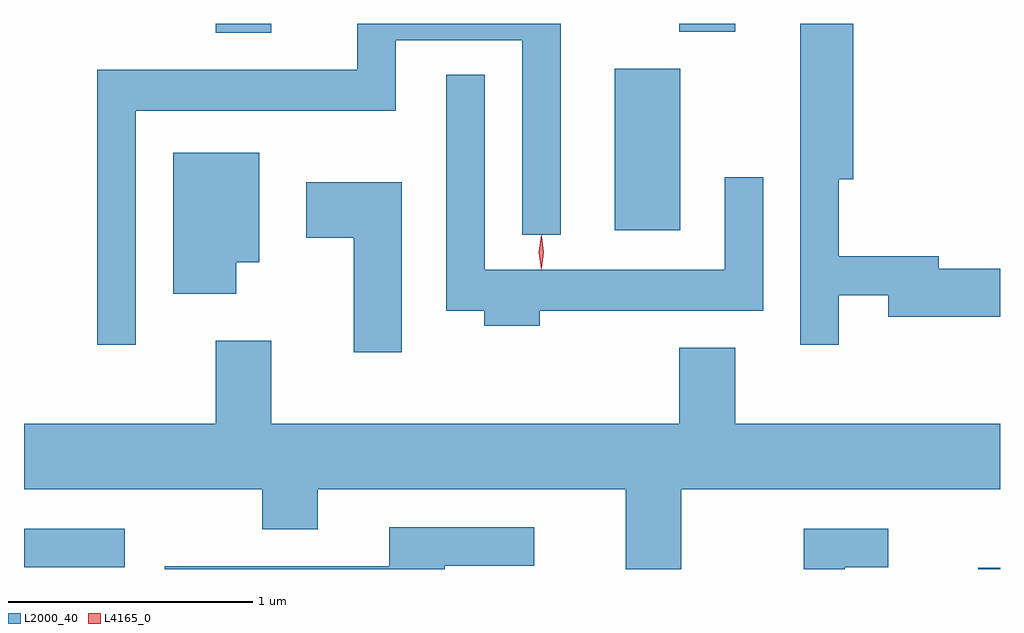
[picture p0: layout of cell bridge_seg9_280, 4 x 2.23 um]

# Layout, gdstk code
import gdstk
lib = gdstk.Library(unit=1e-6, precision=1e-09)
def R(c, l, rs):  # rectangles x0, y0, x1, y1
    for r in rs: c.add(gdstk.rectangle(r[:2], r[2:], *l))
def P(c, l, *ps):  # polygons
    for p in ps: c.add(gdstk.Polygon(p, *l))
L2000_40 = (2000, 40)
L4165_0 = (4165, 0)

bridge_seg9_280 = lib.new_cell('bridge_seg9_280')
R(bridge_seg9_280, L2000_40, [(1043.326,2080.288,1043.415,2080.294), (1039.415,2080.296,1039.828,2080.454), (1041.836,2081.676,1042.104,2082.339), (1040.201,2082.486,1040.429,2082.522), (1042.101,2082.491,1042.329,2082.522)])
P(bridge_seg9_280, L2000_40, [(1042.754,2081.411),(1042.956,2081.411),(1042.956,2081.321),(1043.415,2081.321),(1043.415,2081.519),(1043.164,2081.519),(1043.164,2081.569),(1042.754,2081.569),(1042.754,2081.886),(1042.814,2081.886),(1042.814,2082.522),(1042.596,2082.522),(1042.596,2081.208),(1042.754,2081.208)],
  [(1039.874,2082.166),(1040.939,2082.166),(1040.939,2082.456),(1041.456,2082.456),(1041.456,2081.658),(1041.614,2081.658),(1041.614,2082.522),(1040.781,2082.522),(1040.781,2082.334),(1039.716,2082.334),(1039.716,2081.208),(1039.874,2081.208)],
  [(1041.529,2081.346),(1042.444,2081.346),(1042.444,2081.893),(1042.286,2081.893),(1042.286,2081.514),(1041.304,2081.514),(1041.304,2082.313),(1041.146,2082.313),(1041.146,2081.346),(1041.301,2081.346),(1041.301,2081.286),(1041.529,2081.286)],
  [(1040.284,2081.546),(1040.379,2081.546),(1040.379,2081.994),(1040.026,2081.994),(1040.026,2081.416),(1040.284,2081.416)],
  [(1040.964,2081.874),(1040.571,2081.874),(1040.571,2081.646),(1040.766,2081.646),(1040.766,2081.176),(1040.964,2081.176)],
  [(1042.109,2080.616),(1043.415,2080.616),(1043.415,2080.884),(1042.329,2080.884),(1042.329,2081.194),(1042.101,2081.194),(1042.101,2080.884),(1040.429,2080.884),(1040.429,2081.224),(1040.201,2081.224),(1040.201,2080.884),(1039.415,2080.884),(1039.415,2080.616),(1040.391,2080.616),(1040.391,2080.451),(1040.619,2080.451),(1040.619,2080.616),(1041.881,2080.616),(1041.881,2080.288),(1042.109,2080.288)],
  [(1041.139,2080.301),(1041.507,2080.301),(1041.507,2080.459),(1040.911,2080.459),(1040.911,2080.299),(1039.991,2080.299),(1039.991,2080.288),(1041.139,2080.288)],
  [(1042.779,2080.296),(1042.958,2080.296),(1042.958,2080.454),(1042.611,2080.454),(1042.611,2080.288),(1042.779,2080.288)])
P(bridge_seg9_280, L4165_0, [(1041.534,2081.517),(1041.525,2081.587),(1041.534,2081.656),(1041.535,2081.656),(1041.535,2081.656),(1041.545,2081.587),(1041.535,2081.517),(1041.535,2081.517)],
  [(1041.536,2081.519),(1041.536,2081.52),(1041.526,2081.586),(1041.536,2081.652),(1041.536,2081.653),(1041.537,2081.652),(1041.546,2081.586),(1041.537,2081.52)])

lib.write_gds('bridge_seg9_280.gds')
